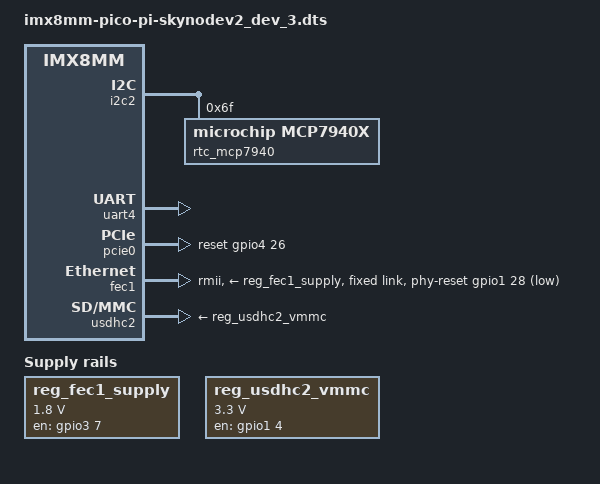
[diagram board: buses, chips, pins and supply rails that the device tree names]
/*
 * Copyright 2020 Auterion AG
 *
 * Author: Helge Bahmann <helge@auterion.com>
 *
 * This program is free software; you can redistribute it and/or
 * modify it under the terms of the GNU General Public License
 * as published by the Free Software Foundation; either version 2
 * of the License, or (at your option) any later version.
 *
 * This program is distributed in the hope that it will be useful,
 * but WITHOUT ANY WARRANTY; without even the implied warranty of
 * MERCHANTABILITY or FITNESS FOR A PARTICULAR PURPOSE.  See the
 * GNU General Public License for more details.
 */

/* This defines the features of the third Skynode boards: production batch
 * with with fixed connectors, RMII ethernet, USBC connector. */

/dts-v1/;

#include "imx8mm-pico-pi.dts"

/*
 * Real Time Clock
 *
 * We do not use the realtime clock integrated into i.MX8MM security controller,
 * but have one connected via i2c bus.
 */

/delete-node/ &snvs_rtc;

&i2c2 {
	rtc_mcp7940: mcp7940 {
		compatible = "microchip,mcp7940x";
		reg = <0x6f>;
	};
};

/*
 * UART
 *
 * Flight controller is attached to UART4, using pins normally used for
 * SPI2 or other purposes (mipi csi controls). This activates UART4 and
 * maps pins for use by flight controller.
 */

/* Delete pinctrls with conflicting mappings for ECSPI2_{SCLK|MOSI} */
/delete-node/ &pinctrl_tfa98xx;
/delete-node/ &pinctrl_csi_pwn;

/* The pins used by UART4 are multiplexed with MIPI control which thus also
 * becomes unavailable. */
/delete-node/ &ov5645_mipi;
/delete-node/ &mipi_csi_1;
/delete-node/ &csi1_bridge;

&iomuxc {
	/* Map UART4 to ECSPI2 pads. */
	imx8mm-pico {
		pinctrl_uart4: uart4grp {
			fsl,pins = <
				MX8MM_IOMUXC_ECSPI2_SCLK_UART4_DCE_RX	0x140
				MX8MM_IOMUXC_ECSPI2_MOSI_UART4_DCE_TX	0x140
				// Remap 'normal' uart pads so they do not accidentally pull
				// line low in case they are connected to something.
				MX8MM_IOMUXC_UART4_RXD_GPIO5_IO28	0x19
				MX8MM_IOMUXC_UART4_TXD_GPIO5_IO29	0x19
			>;
		};
	};
};

/* Activate UART and link it to pinctrl. */
&uart4 {
	pinctrl-names = "default";
	pinctrl-0 = <&pinctrl_uart4>;
	status = "okay";
};

/*
 * PCI Express
 *
 * Single PCIe link connecting to EHCI host controller. Using internal
 * oscillator as reference clock.
 */
&iomuxc {
	imx8mm-pico {
		pinctrl_pcie0: pcie0grp {
			fsl,pins = <
				MX8MM_IOMUXC_SAI2_TXD0_GPIO4_IO26   0x016  /* COMP_PCIE_nRST */
				MX8MM_IOMUXC_NAND_DATA02_GPIO3_IO8  0x016  /* COMP_USB_POWER_EN */
				MX8MM_IOMUXC_GPIO1_IO01_GPIO1_IO1   0x1D6  /* PCIE_USB_PME_L */
			>;
		};
	};
};

/{
    /delete-node/ backlight_mipi;
};
/delete-node/ &reg_backlight_pwr;

&pcie0 {
	pinctrl-names = "default";
	pinctrl-0 = <&pinctrl_pcie0>;
	reset-gpio = <&gpio4 26 GPIO_ACTIVE_HIGH>;
	power-on-gpio = <&gpio3 8 GPIO_ACTIVE_HIGH>;
	ext_osc = <0>;
	status = "okay";
};

/*
 * LTE Modem
 *
 * The pins used in baseline for tusb320 are required for LTE usb reset
 * sequence. Delete the declaration getting in the way.
 */
/delete-node/ &typec_tusb320;
&usbotg1 {
	/delete-property/ extcon;
};


/* 
 * Ethernet
 *
 * Ethernet is connected to ksz8794 via RMII fixed link. No advanced switch
 * control logic connected.
 */

/delete-node/ &pinctrl_gpio_key_voicehat;

&iomuxc {
	imx8mm-pico {
		pinctrl_fec1: fec1grp {
			fsl,pins = <
				MX8MM_IOMUXC_ENET_MDC_ENET1_MDC             0x3
				MX8MM_IOMUXC_ENET_MDIO_ENET1_MDIO           0x3
				MX8MM_IOMUXC_ENET_TD1_ENET1_RGMII_TD1       0x1f
				MX8MM_IOMUXC_ENET_TD0_ENET1_RGMII_TD0       0x1f
				MX8MM_IOMUXC_ENET_RD1_ENET1_RGMII_RD1       0x91
				MX8MM_IOMUXC_ENET_RD0_ENET1_RGMII_RD0       0x91
				MX8MM_IOMUXC_ENET_TD2_ENET1_TX_CLK          0x1f
				MX8MM_IOMUXC_ENET_RXC_ENET1_RX_ER           0x180 /* Config with Pull Down No connect in HW */
				MX8MM_IOMUXC_ENET_TXC_ENET1_TX_ER           0x116
				MX8MM_IOMUXC_ENET_RX_CTL_ENET1_RGMII_RX_CTL 0x91
				MX8MM_IOMUXC_ENET_TX_CTL_ENET1_RGMII_TX_CTL 0x1f
				MX8MM_IOMUXC_ENET_RD2_GPIO1_IO28            0x19  /* ENET_nRST */
				MX8MM_IOMUXC_ENET_RD3_GPIO1_IO29            0x1D0 /* COMP_ETH_SWITCH_INTR_N_2V5 */
			>;
		};
		pinctrl_fec1_nvcc: fec1_nvcc_grp {
			fsl,pins = <
				MX8MM_IOMUXC_NAND_DATA01_GPIO3_IO7          0x196 /* ENET Power */
			>;
		};
	};
};

/ {
	regulators {
		reg_fec1_supply: fec1_nvcc {
			pinctrl-names = "default";
			pinctrl-0 = <&pinctrl_fec1_nvcc>;
			compatible = "regulator-fixed";
			regulator-name = "fec1_nvcc";
			regulator-min-microvolt = <1800000>;
			regulator-max-microvolt = <1800000>;
			gpio = <&gpio3 7 GPIO_ACTIVE_HIGH>;
			enable-active-high;
		};
	};
};

&fec1 {
	pinctrl-names = "default";
	pinctrl-0 = <&pinctrl_fec1>;
	phy-supply = <&reg_fec1_supply>;
	phy-reset-gpios = <&gpio1 28 GPIO_ACTIVE_LOW>;
	/delete-property/ phy-handle;
	phy-mode = "rmii";
	fixed-link {
		speed = <100>;
		full-duplex;
	};
};

/*
 * SD card
 *
 * Mostly default configuration, but using gpio1 pin4 as regulator control for
 * sdhc.
 */

&iomuxc {
	imx8mm-pico {
		pinctrl_usdhc2_reg: usdhc2_reg_grp {
			fsl,pins = <
				MX8MM_IOMUXC_GPIO1_IO04_GPIO1_IO4	0x40000116
			>;
		};

		pinctrl_usdhc2: usdhc2grp {
			fsl,pins = <
				MX8MM_IOMUXC_SD2_CLK_USDHC2_CLK		0x190
				MX8MM_IOMUXC_SD2_CMD_USDHC2_CMD		0x1d0
				MX8MM_IOMUXC_SD2_DATA0_USDHC2_DATA0	0x1d0
				MX8MM_IOMUXC_SD2_DATA1_USDHC2_DATA1	0x1d0
				MX8MM_IOMUXC_SD2_DATA2_USDHC2_DATA2	0x1d0
				MX8MM_IOMUXC_SD2_DATA3_USDHC2_DATA3	0x1d0
			>;
		};

		pinctrl_usdhc2_100mhz: usdhc2grp100mhz {
			fsl,pins = <
				MX8MM_IOMUXC_SD2_CLK_USDHC2_CLK		0x194
				MX8MM_IOMUXC_SD2_CMD_USDHC2_CMD		0x1d4
				MX8MM_IOMUXC_SD2_DATA0_USDHC2_DATA0	0x1d4
				MX8MM_IOMUXC_SD2_DATA1_USDHC2_DATA1	0x1d4
				MX8MM_IOMUXC_SD2_DATA2_USDHC2_DATA2	0x1d4
				MX8MM_IOMUXC_SD2_DATA3_USDHC2_DATA3	0x1d4
			>;
		};

		pinctrl_usdhc2_200mhz: usdhc2grp200mhz {
			fsl,pins = <
				MX8MM_IOMUXC_SD2_CLK_USDHC2_CLK		0x196
				MX8MM_IOMUXC_SD2_CMD_USDHC2_CMD		0x1d6
				MX8MM_IOMUXC_SD2_DATA0_USDHC2_DATA0	0x1d6
				MX8MM_IOMUXC_SD2_DATA1_USDHC2_DATA1	0x1d6
				MX8MM_IOMUXC_SD2_DATA2_USDHC2_DATA2	0x1d6
				MX8MM_IOMUXC_SD2_DATA3_USDHC2_DATA3	0x1d6
			>;
		};
	};
};

/ {
	regulators {
		reg_usdhc2_vmmc: regulator-usdhc2 {
			compatible = "regulator-fixed";
			regulator-name = "VSD_3V3";
			regulator-min-microvolt = <3300000>;
			regulator-max-microvolt = <3300000>;
			gpio = <&gpio1 4 GPIO_ACTIVE_HIGH>;
			enable-active-high;
		};
	};
};

&usdhc2 {
	vmmc-supply = <&reg_usdhc2_vmmc>;
};

